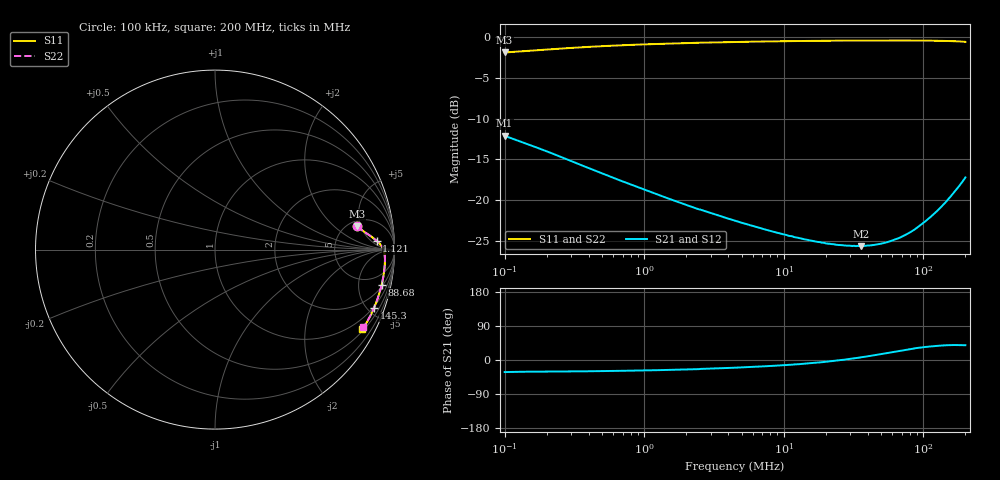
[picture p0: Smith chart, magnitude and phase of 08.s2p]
#  HZ  S  RI  R  50.00
! Rohde & Schwarz Vector Network Analyzer
! Rohde-Schwarz,ZNLE6-2Port,1323001256200024,1.71.1.10-23.02.1.238
! Created: UTC 4/11/2025, 7:08:53 AM
! freq[Hz]  re:S11  im:S11  re:S21  im:S21  re:S12  im:S12  re:S22  im:S22
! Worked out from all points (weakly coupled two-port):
!   1001 points, 100 kHz to 200 MHz, reference 50 ohm
!   highest |S21| = -12.11 dB at 100 kHz (marker M1); lowest = -25.6 dB at 35.62 MHz (marker M2)
!   lowest |S11| = -1.9 dB at 100 kHz (marker M3), VSWR 9.11, Z = 295 + j216 ohm
!   |S11| at or under -10 dB: nowhere
!   |S22| runs from -1.9 to -0.4 dB; largest |S21 - S12| = 0.0027
!   S11 on the Smith chart (normalised r, x): 100 kHz: 5.90, +4.31; 1.121 MHz: 15, +8; 88.68 MHz: 2.26, -8.98; 145.3 MHz: 0.91, -5.46; 200 MHz: 0.58, -3.86
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100000  0.7916 0.1302  0.2105 -0.131  0.2108 -0.1311  0.7912 0.1301
187925.4  0.8264 0.1027  0.1751 -0.1036  0.1753 -0.1037  0.8262 0.1027
355854.1  0.8594 0.0808  0.1419 -0.0818  0.142 -0.0818  0.8592 0.0808
601233.4  0.8811 0.0646  0.12 -0.0662  0.1202 -0.0663  0.8809 0.0647
1121315  0.901 0.0484  0.0997 -0.0512  0.0998 -0.0513  0.9008 0.0485
1266322  0.9043 0.0456  0.0962 -0.0486  0.0963 -0.0487  0.9042 0.0457
2397897  0.9192 0.0315  0.0809 -0.0364  0.0809 -0.0364  0.919 0.0315
4472136  0.9303 0.0172  0.0704 -0.026  0.07 -0.0266  0.9304 0.018
8796434  0.9392 -0.00055  0.0613 -0.0163  0.0612 -0.0176  0.9391 0.000965
1.591428e7  0.9443 -0.0213  0.056 -0.00801  0.0558 -0.00852  0.9444 -0.0202
2.435817e7  0.9464 -0.0438  0.0533 -0.00109  0.0532 -0.00161  0.9466 -0.0421
3.562019e7  0.9464 -0.0726  0.052 0.00638  0.0521 0.00522  0.9466 -0.0697
4.577519e7  0.945 -0.0968  0.0521 0.0123  0.0521 0.0118  0.9453 -0.0937
5.663162e7  0.9421 -0.123  0.0527 0.0183  0.0529 0.0172  0.9427 -0.1189
7.167884e7  0.9366 -0.1581  0.0544 0.0262  0.0549 0.025  0.9375 -0.1531
8.86788e7  0.9286 -0.1969  0.0575 0.0349  0.0582 0.0336  0.9297 -0.1914
1.15706e8  0.9113 -0.2575  0.0651 0.0477  0.066 0.0463  0.9133 -0.2514
1.286975e8  0.9009 -0.2874  0.0695 0.0536  0.0704 0.0523  0.9035 -0.2804
1.453405e8  0.8858 -0.326  0.0762 0.0614  0.0771 0.06  0.8893 -0.3174
1.704937e8  0.8589 -0.3822  0.0887 0.0731  0.0901 0.0712  0.8638 -0.3722
1.940108e8  0.8279 -0.4323  0.1029 0.0838  0.1045 0.0816  0.8346 -0.4212
2e8  0.8188 -0.444  0.1073 0.0868  0.1088 0.0847  0.8265 -0.4334
